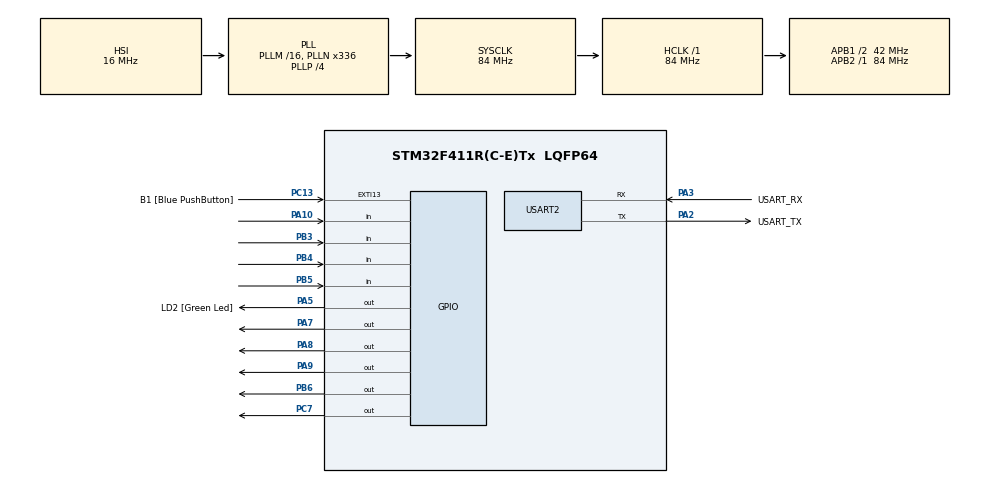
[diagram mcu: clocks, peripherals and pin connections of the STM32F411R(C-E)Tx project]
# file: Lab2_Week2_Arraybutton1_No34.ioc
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Mcu.Family=STM32F4
RCC.CortexFreq_Value=84000000
PA10.GPIO_PuPd=GPIO_PULLUP
PA14.GPIO_Label=TCK
PA7.GPIO_ModeDefaultOutputPP=GPIO_MODE_OUTPUT_PP
RCC.SYSCLKSource=RCC_SYSCLKSOURCE_PLLCLK
ProjectManager.StackSize=0x400
PH0\ -\ OSC_IN.Signal=RCC_OSC_IN
PB4.GPIO_Mode=GPIO_MODE_INPUT
PA7.PinState=GPIO_PIN_SET
RCC.HCLKFreq_Value=84000000
RCC.APB2TimFreq_Value=84000000
PB6.Signal=GPIO_Output
PC7.Signal=GPIO_Output
RCC.AHBFreq_Value=84000000
RCC.HSE_VALUE=8000000
PC13-ANTI_TAMP.Signal=GPXTI13
PB3.GPIO_PuPd=GPIO_PULLUP
PC14-OSC32_IN.Mode=LSE-External-Oscillator
PA14.Mode=Serial_Wire
PC7.PinState=GPIO_PIN_SET
PA8.Signal=GPIO_Output
RCC.FLatency-AdvancedSettings=FLASH_LATENCY_2
Mcu.Package=LQFP64
USART2.VirtualMode=VM_ASYNC
PA2.GPIO_Label=USART_TX
PB6.GPIO_ModeDefaultOutputPP=GPIO_MODE_OUTPUT_PP
PA10.Signal=GPIO_Input
RCC.APB1TimFreq_Value=84000000
PA8.PinState=GPIO_PIN_SET
PB4.Signal=GPIO_Input
PA3.Signal=USART2_RX
PB5.GPIO_Mode=GPIO_MODE_INPUT
PC15-OSC32_OUT.Mode=LSE-External-Oscillator
PC7.GPIO_ModeDefaultOutputPP=GPIO_MODE_OUTPUT_PP
PC13-ANTI_TAMP.GPIO_Label=B1 [Blue PushButton]
PB6.GPIO_PuPd=GPIO_NOPULL
PH1\ -\ OSC_OUT.Mode=HSE-External-Clock-Source
RCC.APB1CLKDivider=RCC_HCLK_DIV2
PC14-OSC32_IN.Signal=RCC_OSC32_IN
PA9.GPIO_PuPd=GPIO_NOPULL
PA10.GPIO_Mode=GPIO_MODE_INPUT
PA3.Mode=Asynchronous
PA13.Signal=SYS_JTMS-SWDIO
PH0\ -\ OSC_IN.Mode=HSE-External-Clock-Source
ProjectManager.TargetToolchain=STM32CubeIDE
PA9.Signal=GPIO_Output
PA9.PinState=GPIO_PIN_SET
PB4.GPIO_PuPd=GPIO_PULLUP
PC7.GPIO_PuPd=GPIO_NOPULL
PC15-OSC32_OUT.Signal=RCC_OSC32_OUT
PA7.GPIO_PuPd=GPIO_NOPULL
PA5.Signal=GPIO_Output
PH1\ -\ OSC_OUT.Signal=RCC_OSC_OUT
board=NUCLEO-F411RE
PC7.GPIO_Speed=GPIO_SPEED_FREQ_LOW
RCC.VCOOutputFreq_Value=336000000
PA7.GPIO_Speed=GPIO_SPEED_FREQ_LOW
RCC.APB2Freq_Value=84000000
PB3.GPIO_Mode=GPIO_MODE_INPUT
PA13.Mode=Serial_Wire
Mcu.Name=STM32F411R(C-E)Tx
PA13.GPIO_Label=TMS
PA2.Signal=USART2_TX
RCC.48MHZClocksFreq_Value=84000000
PA9.GPIO_ModeDefaultOutputPP=GPIO_MODE_OUTPUT_PP
PB3.Signal=GPIO_Input
RCC.SYSCLKFreq_VALUE=84000000
PB5.Signal=GPIO_Input
PA5.GPIO_Label=LD2 [Green Led]
PB5.GPIO_PuPd=GPIO_PULLUP
PB6.PinState=GPIO_PIN_SET
PC13-ANTI_TAMP.GPIO_ModeDefaultEXTI=GPIO_MODE_IT_FALLING
PA14.Signal=SYS_JTCK-SWCLK
ProjectManager.HeapSize=0x200
RCC.HSI_VALUE=16000000
RCC.PLLP=RCC_PLLP_DIV4
NVIC.PriorityGroup=NVIC_PRIORITYGROUP_0
RCC.PLLN=336
PA2.Mode=Asynchronous
PA9.GPIO_Speed=GPIO_SPEED_FREQ_LOW
PB6.GPIO_Speed=GPIO_SPEED_FREQ_LOW
RCC.APB1Freq_Value=42000000
PA3.GPIO_Label=USART_RX
PA7.Signal=GPIO_Output

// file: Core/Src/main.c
/* USER CODE BEGIN Header */
/**
  ******************************************************************************
  * @file           : main.c
  * @brief          : Main program body
  ******************************************************************************
  * @attention
  *
  * <h2><center>&copy; Copyright (c) 2021 STMicroelectronics.
  * All rights reserved.</center></h2>
  *
  * This software component is licensed by ST under BSD 3-Clause license,
  * the "License"; You may not use this file except in compliance with the
  * License. You may obtain a copy of the License at:
  *                        opensource.org/licenses/BSD-3-Clause
  *
  ******************************************************************************
  */
/* USER CODE END Header */
#include "main.h"

UART_HandleTypeDef huart2;

/* USER CODE BEGIN PV */
uint16_t ButtonMatrixState = 0;
uint16_t ButtonMatrixTimestamp = 0;
uint16_t ID = 0;
/* USER CODE END PV */

void SystemClock_Config(void);
static void MX_GPIO_Init(void);
static void MX_USART2_UART_Init(void);
/* USER CODE BEGIN PFP */

void ButtonMatrixUpdate();
void IDchecker();

/* USER CODE END PFP */

int main(void)
{

  /* MCU Configuration--------------------------------------------------------*/

  /* Reset of all peripherals, Initializes the Flash interface and the Systick. */
  HAL_Init();

  /* Configure the system clock */
  SystemClock_Config();

  /* Initialize all configured peripherals */
  MX_GPIO_Init();
  MX_USART2_UART_Init();

  /* Infinite loop */
  while (1)
  {

    /* USER CODE BEGIN 3 */
	ButtonMatrixUpdate();
	IDchecker();

  }
  /* USER CODE END 3 */
}

void SystemClock_Config(void)
{
  RCC_OscInitTypeDef RCC_OscInitStruct = {0};
  RCC_ClkInitTypeDef RCC_ClkInitStruct = {0};

  /** Configure the main internal regulator output voltage
  */
  __HAL_RCC_PWR_CLK_ENABLE();
  __HAL_PWR_VOLTAGESCALING_CONFIG(PWR_REGULATOR_VOLTAGE_SCALE1);
  /** Initializes the RCC Oscillators according to the specified parameters
  * in the RCC_OscInitTypeDef structure.
  */
  RCC_OscInitStruct.OscillatorType = RCC_OSCILLATORTYPE_HSI;
  RCC_OscInitStruct.HSIState = RCC_HSI_ON;
  RCC_OscInitStruct.HSICalibrationValue = RCC_HSICALIBRATION_DEFAULT;
  RCC_OscInitStruct.PLL.PLLState = RCC_PLL_ON;
  RCC_OscInitStruct.PLL.PLLSource = RCC_PLLSOURCE_HSI;
  RCC_OscInitStruct.PLL.PLLM = 16;
  RCC_OscInitStruct.PLL.PLLN = 336;
  RCC_OscInitStruct.PLL.PLLP = RCC_PLLP_DIV4;
  RCC_OscInitStruct.PLL.PLLQ = 4;
  if (HAL_RCC_OscConfig(&RCC_OscInitStruct) != HAL_OK)
  {
    Error_Handler();
  }
  /** Initializes the CPU, AHB and APB buses clocks
  */
  RCC_ClkInitStruct.ClockType = RCC_CLOCKTYPE_HCLK|RCC_CLOCKTYPE_SYSCLK
                              |RCC_CLOCKTYPE_PCLK1|RCC_CLOCKTYPE_PCLK2;
  RCC_ClkInitStruct.SYSCLKSource = RCC_SYSCLKSOURCE_PLLCLK;
  RCC_ClkInitStruct.AHBCLKDivider = RCC_SYSCLK_DIV1;
  RCC_ClkInitStruct.APB1CLKDivider = RCC_HCLK_DIV2;
  RCC_ClkInitStruct.APB2CLKDivider = RCC_HCLK_DIV1;

  if (HAL_RCC_ClockConfig(&RCC_ClkInitStruct, FLASH_LATENCY_2) != HAL_OK)
  {
    Error_Handler();
  }
}

static void MX_USART2_UART_Init(void)
{

  huart2.Instance = USART2;
  huart2.Init.BaudRate = 115200;
  huart2.Init.WordLength = UART_WORDLENGTH_8B;
  huart2.Init.StopBits = UART_STOPBITS_1;
  huart2.Init.Parity = UART_PARITY_NONE;
  huart2.Init.Mode = UART_MODE_TX_RX;
  huart2.Init.HwFlowCtl = UART_HWCONTROL_NONE;
  huart2.Init.OverSampling = UART_OVERSAMPLING_16;
  if (HAL_UART_Init(&huart2) != HAL_OK)
  {
    Error_Handler();
  }

}

static void MX_GPIO_Init(void)
{
  GPIO_InitTypeDef GPIO_InitStruct = {0};

  /* GPIO Ports Clock Enable */
  __HAL_RCC_GPIOC_CLK_ENABLE();
  __HAL_RCC_GPIOH_CLK_ENABLE();
  __HAL_RCC_GPIOA_CLK_ENABLE();
  __HAL_RCC_GPIOB_CLK_ENABLE();

  /*Configure GPIO pin Output Level */
  HAL_GPIO_WritePin(LD2_GPIO_Port, LD2_Pin, GPIO_PIN_RESET);

  /*Configure GPIO pin Output Level */
  HAL_GPIO_WritePin(GPIOA, GPIO_PIN_7|GPIO_PIN_8|GPIO_PIN_9, GPIO_PIN_SET);

  /*Configure GPIO pin Output Level */
  HAL_GPIO_WritePin(GPIOC, GPIO_PIN_7, GPIO_PIN_SET);

  /*Configure GPIO pin Output Level */
  HAL_GPIO_WritePin(GPIOB, GPIO_PIN_6, GPIO_PIN_SET);

  /*Configure GPIO pin : B1_Pin */
  GPIO_InitStruct.Pin = B1_Pin;
  GPIO_InitStruct.Mode = GPIO_MODE_IT_FALLING;
  GPIO_InitStruct.Pull = GPIO_NOPULL;
  HAL_GPIO_Init(B1_GPIO_Port, &GPIO_InitStruct);

  /*Configure GPIO pins : LD2_Pin PA7 PA8 PA9 */
  GPIO_InitStruct.Pin = LD2_Pin|GPIO_PIN_7|GPIO_PIN_8|GPIO_PIN_9;
  GPIO_InitStruct.Mode = GPIO_MODE_OUTPUT_PP;
  GPIO_InitStruct.Pull = GPIO_NOPULL;
  GPIO_InitStruct.Speed = GPIO_SPEED_FREQ_LOW;
  HAL_GPIO_Init(GPIOA, &GPIO_InitStruct);

  /*Configure GPIO pin : PC7 */
  GPIO_InitStruct.Pin = GPIO_PIN_7;
  GPIO_InitStruct.Mode = GPIO_MODE_OUTPUT_PP;
  GPIO_InitStruct.Pull = GPIO_NOPULL;
  GPIO_InitStruct.Speed = GPIO_SPEED_FREQ_LOW;
  HAL_GPIO_Init(GPIOC, &GPIO_InitStruct);

  /*Configure GPIO pin : PA10 */
  GPIO_InitStruct.Pin = GPIO_PIN_10;
  GPIO_InitStruct.Mode = GPIO_MODE_INPUT;
  GPIO_InitStruct.Pull = GPIO_PULLUP;
  HAL_GPIO_Init(GPIOA, &GPIO_InitStruct);

  /*Configure GPIO pins : PB3 PB4 PB5 */
  GPIO_InitStruct.Pin = GPIO_PIN_3|GPIO_PIN_4|GPIO_PIN_5;
  GPIO_InitStruct.Mode = GPIO_MODE_INPUT;
  GPIO_InitStruct.Pull = GPIO_PULLUP;
  HAL_GPIO_Init(GPIOB, &GPIO_InitStruct);

  /*Configure GPIO pin : PB6 */
  GPIO_InitStruct.Pin = GPIO_PIN_6;
  GPIO_InitStruct.Mode = GPIO_MODE_OUTPUT_PP;
  GPIO_InitStruct.Pull = GPIO_NOPULL;
  GPIO_InitStruct.Speed = GPIO_SPEED_FREQ_LOW;
  HAL_GPIO_Init(GPIOB, &GPIO_InitStruct);

}

/* USER CODE BEGIN 4 */

//Make my function
//port pin array port0-3 input-R /4-7 output-L
GPIO_TypeDef *ButtonMatrixPort[8] = {GPIOA,GPIOB,GPIOB,GPIOB,GPIOA,GPIOC,GPIOB,GPIOA};
uint16_t ButtonMatrixPin[8] ={GPIO_PIN_10,GPIO_PIN_3,GPIO_PIN_5,GPIO_PIN_4,GPIO_PIN_9,GPIO_PIN_7,GPIO_PIN_6,GPIO_PIN_7};
uint8_t ButtonMatrixLine = 0; //Where is R
void ButtonMatrixUpdate()
{
	if(HAL_GetTick() - ButtonMatrixTimestamp >= 50)
	{
		ButtonMatrixTimestamp = HAL_GetTick();
		int i;
		for(i = 0;i<4;i+=1){ //++i is faster than i++
			GPIO_PinState Pinstate = HAL_GPIO_ReadPin(ButtonMatrixPort[i], ButtonMatrixPin[i]);
			if(Pinstate == GPIO_PIN_RESET) // button pressed
			{
				ButtonMatrixState |= (uint16_t)0x1 <<(i + ButtonMatrixLine * 4);    // 0x1 == 1  : ButtonMatrixState = (uint16_t)1 <<i;
														//0b000 | 0b1000
				//ID |= ButtonMatrixState; //to memory state
				IDchecker();
			}
			else
			{
				ButtonMatrixState &= ~((uint16_t)0x1 <<(i + ButtonMatrixLine * 4)); //0b000 & ~(0b1000)
			}
		}
		uint8_t NowOutputPin = ButtonMatrixLine + 4; // set Ln
		HAL_GPIO_WritePin(ButtonMatrixPort[NowOutputPin],ButtonMatrixPin[NowOutputPin], GPIO_PIN_SET); //Output->High

		ButtonMatrixLine = (ButtonMatrixLine+1) % 4; //update new line

		uint8_t NextOutputPin = ButtonMatrixLine + 4; // reset Ln+1
		HAL_GPIO_WritePin(ButtonMatrixPort[NextOutputPin],ButtonMatrixPin[NextOutputPin], GPIO_PIN_RESET); //Output->LOW

	}
}

void IDchecker() //ID = 62340500034 = 0b1111111111
{
	if(ButtonMatrixState == 0 && ID != 0)             	//เมื่อปล่อยจะเปลี่ยน 0 เป็น 1
	{
		ID |= (uint16_t)0x1;
	}
	if(ID == 0 && ButtonMatrixState == 0b1000000)     //check "6"
	{
		ID |= (uint16_t)0x1;
	}
	else if(ID == 0b1 ) 							  //check "2"
	{
		if(ButtonMatrixState == 0b1000000000)
		{
			ID <<= 1;
		}
		else if(ButtonMatrixState != 0b1000000 && ButtonMatrixState != 0)
		{
			ID &= ~ID; //ID=0;
		}
	}
	else if(ID == 0b11 ) 						     //check "3"
	{
		if(ButtonMatrixState == 0b10000000000)
		{
			ID <<= 1;
		}
		else if(ButtonMatrixState != 0b1000000000 && ButtonMatrixState != 0)
		{
			ID &= ~ID;
		}
	}
	else if(ID == 0b111 ) 						    //check "4"
	{
		if(ButtonMatrixState == 0b10000)
		{
			ID <<= 1;
		}
		else if(ButtonMatrixState != 0b10000000000 && ButtonMatrixState != 0)
		{
			ID &= ~ID;
		}
	}
	else if(ID == 0b1111 ) 						   //check "0"
	{
		if(ButtonMatrixState == 0b1000000000000)
		{
			ID <<= 1;
		}
		else if(ButtonMatrixState != 0b10000 && ButtonMatrixState != 0)
		{
			ID &= ~ID;
		}
	}
	else if(ID == 0b11111 ) 					  //check "5"
	{
		if(ButtonMatrixState == 0b100000)
		{
			ID <<= 1;
		}
		else if(ButtonMatrixState != 0b1000000000000 && ButtonMatrixState != 0)
		{
			ID &= ~ID;
		}
	}
	else if(ID == 0b111111 ) 				     //check "0" +1
	{
		if(ButtonMatrixState == 0b1000000000000)
		{
			ID = ID << 1;
		}
		else if(ButtonMatrixState != 0b100000 && ButtonMatrixState != 0)
		{
			ID &= ~ID;
		}
	}
	else if(ID == 0b1111111 ) 				    //check "0" +2
	{
		if(ButtonMatrixState == 0b1000000000000)
		{
			ID <<= 1;
		}
		else if(ButtonMatrixState != 0b1000000000000 && ButtonMatrixState != 0)
		{
			ID &= ~ID;
		}
	}
	else if(ID == 0b11111111 ) 						 //check "0" +3
	{
		if(ButtonMatrixState == 0b1000000000000)
		{
			ID <<= 1;
		}
		else if(ButtonMatrixState != 0b1000000000000 && ButtonMatrixState != 0)
		{
			ID &= ~ID;
		}
	}
	else if(ID == 0b111111111 ) 						 //check "3"
	{
		if(ButtonMatrixState == 0b10000000000)
		{
			ID <<= 1;
		}
		else if(ButtonMatrixState != 0b1000000000000 && ButtonMatrixState != 0)
		{
			ID &= ~ID;
		}
	}
	else if(ID == 0b1111111111 ) 						 //check "4"
	{
		if(ButtonMatrixState == 0b10000)
		{
			ID <<= 1;
		}
		else if(ButtonMatrixState != 0b10000000000 && ButtonMatrixState != 0)
		{
			ID &= ~ID;
		}
	}
	else if(ID == 0b11111111111 && ButtonMatrixState == 0b1000000000000000) // Press OK
	{
		HAL_GPIO_WritePin(GPIOA, GPIO_PIN_8, GPIO_PIN_RESET);
	}
	else if(ButtonMatrixState == 0b1000)      //Press Clear
	{
		ID &= ~ID;
	}
}

/* USER CODE END 4 */

void Error_Handler(void)
{
  __disable_irq();
  while (1)
  {
  }
}

/************************ (C) COPYRIGHT STMicroelectronics *****END OF FILE****/
